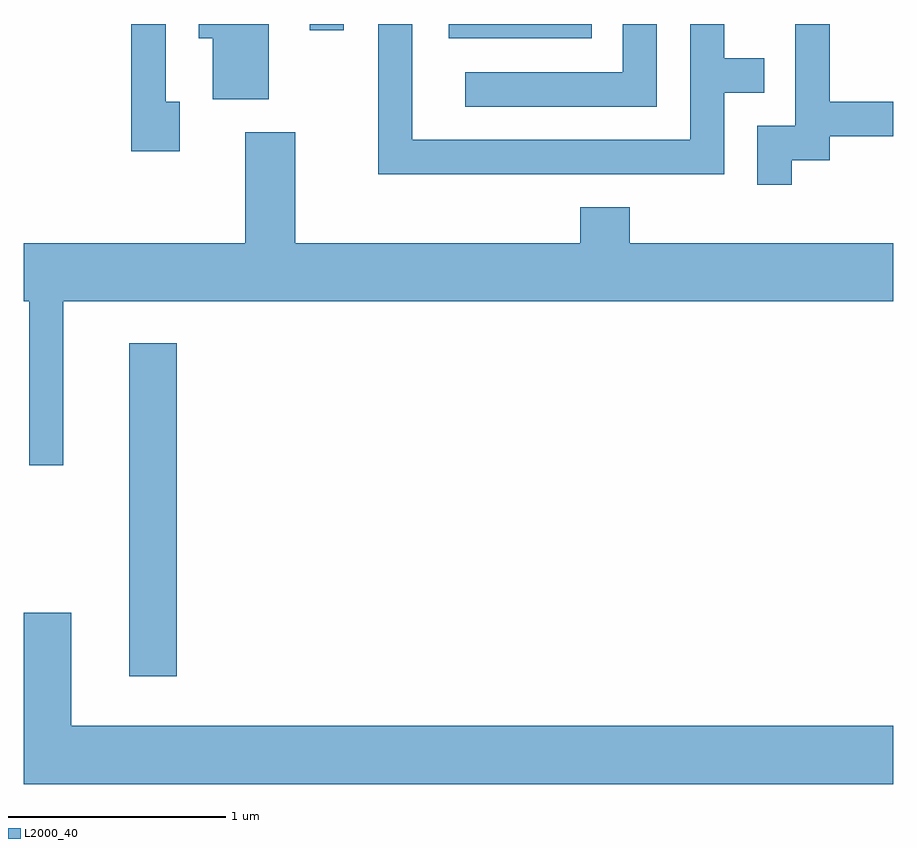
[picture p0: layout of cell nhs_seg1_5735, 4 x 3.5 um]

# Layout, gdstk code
import gdstk
lib = gdstk.Library(unit=1e-6, precision=1e-09)
def R(c, l, rs):  # rectangles x0, y0, x1, y1
    for r in rs: c.add(gdstk.rectangle(r[:2], r[2:], *l))
def P(c, l, *ps):  # polygons
    for p in ps: c.add(gdstk.Polygon(p, *l))
L2000_40 = (2000, 40)

nhs_seg1_5735 = lib.new_cell('nhs_seg1_5735')
R(nhs_seg1_5735, L2000_40, [(358.096,926.711,358.314,928.244), (359.566,929.646,360.223,929.712), (358.926,929.683,359.084,929.712)])
P(nhs_seg1_5735, L2000_40, [(360.834,929.396),(361.018,929.396),(361.018,929.554),(360.834,929.554),(360.834,929.712),(360.676,929.712),(360.676,929.179),(359.399,929.179),(359.399,929.712),(359.241,929.712),(359.241,929.021),(360.834,929.021)],
  [(358.739,929.712),(358.416,929.712),(358.416,929.646),(358.481,929.646),(358.481,929.366),(358.739,929.366)],
  [(360.524,929.712),(360.366,929.712),(360.366,929.489),(359.643,929.489),(359.643,929.331),(360.524,929.331)],
  [(361.144,929.086),(361.319,929.086),(361.319,929.196),(361.611,929.196),(361.611,929.354),(361.319,929.354),(361.319,929.712),(361.161,929.712),(361.161,929.244),(360.986,929.244),(360.986,928.973),(361.144,928.973)],
  [(358.329,929.354),(358.264,929.354),(358.264,929.712),(358.106,929.712),(358.106,929.126),(358.329,929.126)],
  [(357.794,928.436),(361.611,928.436),(361.611,928.704),(360.399,928.704),(360.399,928.869),(360.171,928.869),(360.171,928.704),(358.859,928.704),(358.859,929.214),(358.631,929.214),(358.631,928.704),(357.611,928.704),(357.611,928.436),(357.636,928.436),(357.636,927.683),(357.794,927.683)],
  [(361.611,926.484),(357.829,926.484),(357.829,927.004),(357.611,927.004),(357.611,926.216),(361.611,926.216)])

lib.write_gds('nhs_seg1_5735.gds')
